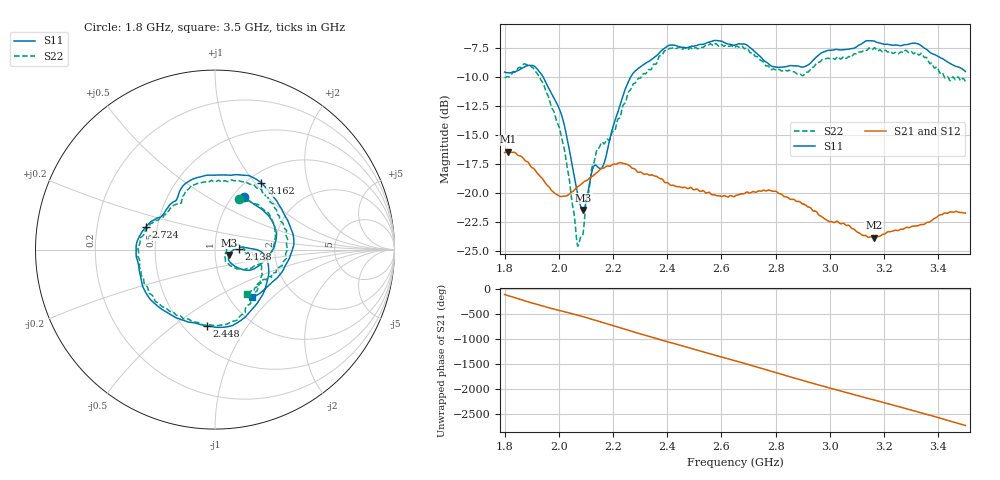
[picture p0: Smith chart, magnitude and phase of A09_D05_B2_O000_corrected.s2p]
! Created with skrf 1.9.0 (http://scikit-rf.org).
# Hz S RI R 50.0
!freq ReS11 ImS11 ReS21 ImS21 ReS12 ImS12 ReS22 ImS22
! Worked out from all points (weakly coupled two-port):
!   1601 points, 1.8 GHz to 3.5 GHz, reference 50 ohm
!   highest |S21| = -16.42 dB at 1.812 GHz (marker M1); lowest = -23.8 dB at 3.162 GHz (marker M2)
!   lowest |S11| = -21.5 dB at 2.09 GHz (marker M3), VSWR 1.18, Z = 58.5 - j3.57 ohm
!   |S11| at or under -10 dB: 1.943 GHz to 2.265 GHz (322.1 MHz wide, 15.3 % of centre)
!   |S22| runs from -24.6 to -7.1 dB; largest |S21 - S12| = 0.0028
!   S11 on the Smith chart (normalised r, x): 1.8 GHz: 1.12, +0.74; 2.138 GHz: 1.30, +0.01; 2.448 GHz: 0.64, -0.67; 2.724 GHz: 0.43, +0.13; 3.162 GHz: 1.15, +1.08; 3.5 GHz: 1.27, -0.75
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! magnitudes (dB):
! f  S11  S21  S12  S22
! 1.8 GHz  -9.6  -16.5  -16.5  -10.1
! 1.812 GHz  -9.6  -16.4  -16.4  -10.0
! 1.88 GHz  -9.0  -17.3  -17.3  -8.9
! 1.941 GHz  -9.9  -18.8  -18.8  -10.5
! 2.013 GHz  -13.4  -20.3  -20.3  -15.5
! 2.067 GHz  -19.8  -19.5  -19.5  -24.2
! 2.084 GHz  -21.3  -19.2  -19.2  -23.8
! 2.09 GHz  -21.5  -19.1  -19.1  -23.4
! 2.138 GHz  -17.6  -18.3  -18.3  -16.5
! 2.166 GHz  -17.5  -17.8  -17.8  -15.7
! 2.205 GHz  -13.9  -17.5  -17.5  -14.7
! 2.265 GHz  -10.0  -17.7  -17.7  -11.0
! 2.367 GHz  -8.0  -18.7  -18.6  -8.4
! 2.448 GHz  -7.4  -19.5  -19.5  -7.4
! 2.65 GHz  -7.2  -20.3  -20.2  -7.4
! 2.724 GHz  -7.8  -19.9  -19.9  -8.2
! 2.796 GHz  -9.1  -19.8  -19.8  -9.3
! 2.934 GHz  -8.7  -21.4  -21.4  -9.2
! 3.162 GHz  -6.9  -23.8  -23.8  -7.5
! 3.217 GHz  -7.2  -23.3  -23.3  -7.8
! 3.324 GHz  -7.1  -22.8  -22.8  -8.0
! 3.5 GHz  -9.5  -21.7  -21.7  -10.4
